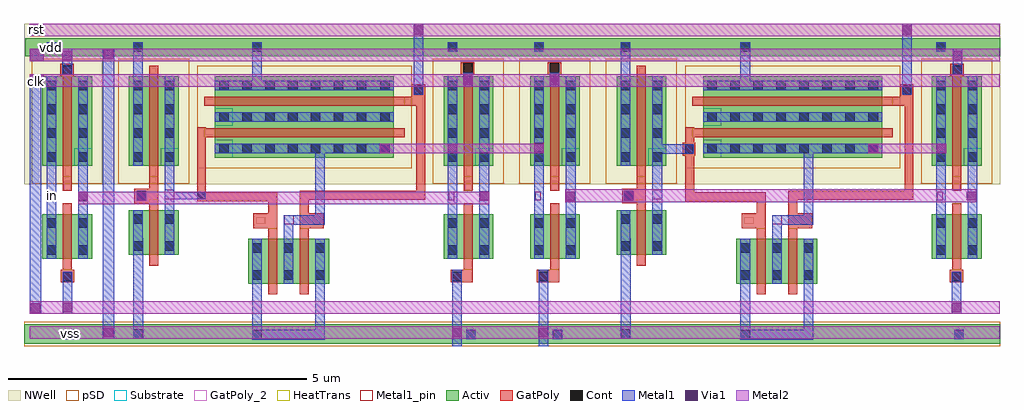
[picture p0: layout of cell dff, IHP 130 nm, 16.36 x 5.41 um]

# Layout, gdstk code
from math import pi, radians
import gdstk
lib = gdstk.Library(unit=1e-6, precision=5e-09)
def R(c, l, rs):  # rectangles x0, y0, x1, y1
    for r in rs: c.add(gdstk.rectangle(r[:2], r[2:], *l))
def A(c, l, x, y, w, h, nx, ny, dx, dy):  # array of equal rectangles
    R(c, l, [(x+i*dx, y+j*dy, x+i*dx+w, y+j*dy+h) for i in range(nx) for j in range(ny)])
Activ = (1, 0)
GatPoly = (5, 0)
GatPoly_2 = (5, 2)
Cont = (6, 0)
Metal1 = (8, 0)
Metal1_pin = (8, 2)
Metal2 = (10, 0)
pSD = (14, 0)
Via1 = (19, 0)
NWell = (31, 0)
Substrate = (40, 0)
HeatTrans = (51, 0)

nmos_5_2 = lib.new_cell('nmos$5$2')
R(nmos_5_2, Activ, [(0,0,0.3,0.3), (0,0,0.83,0.75), (0.53,0,0.83,0.3)])
R(nmos_5_2, GatPoly, [(0.34,-0.18,0.49,0.93)])
R(nmos_5_2, GatPoly_2, [(0.34,-0.18,0.49,0.93)])
R(nmos_5_2, Cont, [(0.07,0.07,0.23,0.23), (0.6,0.07,0.76,0.23), (0.07,0.52,0.23,0.68), (0.6,0.52,0.76,0.68)])
R(nmos_5_2, Metal1, [(0.07,0,0.23,0.75), (0.6,0,0.76,0.75)])
R(nmos_5_2, Metal1_pin, [(0.07,0,0.23,0.75), (0.6,0,0.76,0.75)])
R(nmos_5_2, HeatTrans, [(0.34,-0.18,0.49,0.93)])
nmos_5_2.add(gdstk.Label('nmos', (0.415,0.375), layer=63, texttype=0))
nmos_5_2.add(gdstk.Label('nmos', (0.415,0.375), layer=51, texttype=0))

pmos_5_1 = lib.new_cell('pmos$5$1')
R(pmos_5_1, Activ, [(0,0,0.3,0.3), (0,0,0.83,3), (0.53,0,0.83,0.3)])
R(pmos_5_1, GatPoly, [(0.34,-0.18,0.49,3.18), (0.34,-0.18,0.49,3.18)])
A(pmos_5_1, Cont, 0.07, 0.07, 0.16, 0.16, 1, 7, 0, 0.385)
A(pmos_5_1, Cont, 0.6, 0.07, 0.16, 0.16, 1, 7, 0, 0.385)
R(pmos_5_1, Cont, [(0.07,2.77,0.23,2.93), (0.6,2.77,0.76,2.93)])
R(pmos_5_1, Metal1, [(0.07,0,0.23,3), (0.07,0,0.23,3), (0.6,0,0.76,3), (0.6,0,0.76,3)])
R(pmos_5_1, pSD, [(-0.18,-0.3,1.01,3.3)])
R(pmos_5_1, NWell, [(-0.31,-0.31,1.14,3.31)])
R(pmos_5_1, Substrate, [(0.53,0,0.83,0.3)])
R(pmos_5_1, HeatTrans, [(0.34,-0.18,0.49,3.18)])
pmos_5_1.add(gdstk.Label('pmos', (0.415,1.5), layer=63, texttype=0))
pmos_5_1.add(gdstk.Label('pmos', (0.415,1.5), layer=51, texttype=0))

norgate_1 = lib.new_cell('norgate$1')
R(norgate_1, Activ, [(-1.47,-2.5,1.81,-2.17), (-1.35,2.325,1.935,2.625)])
R(norgate_1, GatPoly, [(-0.525,-0.56,-0.125,-0.31), (-0.275,-0.56,-0.125,-0.11), (0.255,-0.56,0.405,0.065), (0.255,-0.56,0.655,-0.31), (-1.47,-0.11,-0.125,0.04), (0.255,-0.085,2.355,0.065), (2.205,-0.085,2.355,1.645), (-1.47,0.04,-1.32,1.135), (-1.47,0.965,-1.35,1.135), (2.01,1.495,2.355,1.645)])
R(norgate_1, GatPoly_2, [(0.47,-0.49,0.6,-0.37), (-0.48,-0.485,-0.325,-0.375)])
R(norgate_1, Cont, [(-0.545,-2.43,-0.385,-2.27), (-0.545,2.395,-0.385,2.555)])
R(norgate_1, Metal1, [(-0.545,-2.43,-0.385,-0.74), (-0.545,-2.43,0.675,-2.265), (0.515,-2.43,0.675,-0.74), (-0.015,-0.74,0.145,-0.36), (-0.015,-0.505,0.675,-0.345), (0.515,-0.49,0.675,0.695), (-0.545,1.755,-0.385,2.555)])
R(norgate_1, Metal1_pin, [(-0.545,-2.43,-0.385,-2.265), (-0.01,-0.49,0.15,-0.345), (-0.545,2.395,-0.385,2.555)])
R(norgate_1, pSD, [(-1.47,-2.54,1.81,-2.125)])
R(norgate_1, NWell, [(-1.47,2.295,2.13,2.865)])
norgate_1.add(gdstk.Reference(nmos_5_2, (0.745,-0.74), rotation=pi))
norgate_1.add(gdstk.Reference(nmos_5_2, (-0.615,-1.49)))
norgate_1.add(gdstk.Reference(pmos_5_1, (-1.17,1.985), rotation=3*pi/2))
norgate_1.add(gdstk.Reference(pmos_5_1, (-1.17,1.455), rotation=3*pi/2))
norgate_1.add(gdstk.Label('vss', (-0.485,-2.335), layer=8, texttype=2))
norgate_1.add(gdstk.Label('vdd', (-0.475,2.5), layer=8, texttype=2))
norgate_1.add(gdstk.Label('out', (0.07,-0.41), layer=8, texttype=2))
norgate_1.add(gdstk.Label('b', (-0.42,-0.435), layer=5, texttype=2))
norgate_1.add(gdstk.Label('a', (0.52,-0.44), layer=5, texttype=2))

nmos_5_1 = lib.new_cell('nmos$5$1')
R(nmos_5_1, Activ, [(0,0,0.3,0.3), (0,0,0.83,0.75), (0.53,0,0.83,0.3)])
R(nmos_5_1, GatPoly, [(0.34,-0.18,0.49,0.93)])
R(nmos_5_1, GatPoly_2, [(0.34,-0.18,0.49,0.93)])
R(nmos_5_1, Cont, [(0.07,0.07,0.23,0.23), (0.6,0.07,0.76,0.23), (0.07,0.52,0.23,0.68), (0.6,0.52,0.76,0.68)])
R(nmos_5_1, Metal1, [(0.07,0,0.23,0.75), (0.6,0,0.76,0.75)])
R(nmos_5_1, Metal1_pin, [(0.07,0,0.23,0.75), (0.6,0,0.76,0.75)])
R(nmos_5_1, HeatTrans, [(0.34,-0.18,0.49,0.93)])
nmos_5_1.add(gdstk.Label('nmos', (0.415,0.375), layer=63, texttype=0))
nmos_5_1.add(gdstk.Label('nmos', (0.415,0.375), layer=51, texttype=0))

pmos = lib.new_cell('pmos')
R(pmos, Activ, [(0,0,0.3,0.3), (0,0,0.83,1.5), (0.53,0,0.83,0.3)])
R(pmos, GatPoly, [(0.34,-0.18,0.49,1.68), (0.34,-0.18,0.49,1.68)])
A(pmos, Cont, 0.07, 0.07, 0.16, 0.16, 1, 4, 0, 0.4)
A(pmos, Cont, 0.6, 0.07, 0.16, 0.16, 1, 4, 0, 0.4)
R(pmos, Metal1, [(0.07,0,0.23,1.5), (0.07,0,0.23,1.5), (0.6,0,0.76,1.5), (0.6,0,0.76,1.5)])
R(pmos, pSD, [(-0.18,-0.3,1.01,1.8)])
R(pmos, NWell, [(-0.31,-0.31,1.14,1.81)])
R(pmos, Substrate, [(0.53,0,0.83,0.3)])
R(pmos, HeatTrans, [(0.34,-0.18,0.49,1.68)])
pmos.add(gdstk.Label('pmos', (0.415,0.75), layer=63, texttype=0))
pmos.add(gdstk.Label('pmos', (0.415,0.75), layer=51, texttype=0))

transmissiongate = lib.new_cell('transmissiongate')
R(transmissiongate, Activ, [(2.295,-2.62,3.745,-2.29), (2.315,2.205,3.745,2.505)])
R(transmissiongate, GatPoly, [(2.945,-0.055,3.095,0.185)])
R(transmissiongate, GatPoly_2, [(2.98,-0.43,3.09,-0.27), (2.96,-0.055,3.08,0.105)])
R(transmissiongate, Cont, [(2.98,-2.54,3.14,-2.38), (2.675,2.275,2.835,2.435)])
R(transmissiongate, Metal1, [(2.98,-2.54,3.14,-2.38), (2.98,-2.54,3.14,-2.38), (2.675,-0.445,2.835,-0.21), (3.205,-0.445,3.365,-0.21), (2.675,-0.21,2.835,0.365), (3.205,-0.21,3.365,0.365), (2.675,2.275,2.835,2.435)])
R(transmissiongate, Metal1_pin, [(2.98,-2.54,3.14,-2.38), (2.69,-0.21,2.785,-0.07), (3.205,-0.21,3.365,-0.07), (2.675,2.275,2.835,2.435)])
R(transmissiongate, pSD, [(2.295,-2.66,3.745,-2.245)])
R(transmissiongate, NWell, [(2.295,2.175,3.745,2.745)])
transmissiongate.add(gdstk.Reference(nmos_5_1, (2.605,-1.195)))
transmissiongate.add(gdstk.Reference(pmos, (2.605,0.365)))
transmissiongate.add(gdstk.Label('vdd', (2.745,2.38), layer=8, texttype=2))
transmissiongate.add(gdstk.Label('vss', (3.055,-2.46), layer=8, texttype=2))
transmissiongate.add(gdstk.Label('out', (3.285,-0.14), layer=8, texttype=2))
transmissiongate.add(gdstk.Label('in', (2.73,-0.14), layer=8, texttype=2))
transmissiongate.add(gdstk.Label('en', (3.015,-0.355), layer=5, texttype=2))
transmissiongate.add(gdstk.Label('noten', (3.025,0.02), layer=5, texttype=2))

nmos = lib.new_cell('nmos')
R(nmos, Activ, [(0,0,0.3,0.3), (0,0,0.83,0.75), (0.53,0,0.83,0.3)])
R(nmos, GatPoly, [(0.34,-0.18,0.49,0.93)])
R(nmos, GatPoly_2, [(0.34,-0.18,0.49,0.93)])
R(nmos, Cont, [(0.07,0.07,0.23,0.23), (0.6,0.07,0.76,0.23), (0.07,0.52,0.23,0.68), (0.6,0.52,0.76,0.68)])
R(nmos, Metal1, [(0.07,0,0.23,0.75), (0.6,0,0.76,0.75)])
R(nmos, Metal1_pin, [(0.07,0,0.23,0.75), (0.6,0,0.76,0.75)])
R(nmos, HeatTrans, [(0.34,-0.18,0.49,0.93)])
nmos.add(gdstk.Label('nmos', (0.415,0.375), layer=63, texttype=0))
nmos.add(gdstk.Label('nmos', (0.415,0.375), layer=51, texttype=0))

pmos_1 = lib.new_cell('pmos$1')
R(pmos_1, Activ, [(0,0,0.3,0.3), (0,0,0.83,1.5), (0.53,0,0.83,0.3)])
R(pmos_1, GatPoly, [(0.34,-0.18,0.49,1.68), (0.34,-0.18,0.49,1.68)])
A(pmos_1, Cont, 0.07, 0.07, 0.16, 0.16, 1, 4, 0, 0.4)
A(pmos_1, Cont, 0.6, 0.07, 0.16, 0.16, 1, 4, 0, 0.4)
R(pmos_1, Metal1, [(0.07,0,0.23,1.5), (0.07,0,0.23,1.5), (0.6,0,0.76,1.5), (0.6,0,0.76,1.5)])
R(pmos_1, pSD, [(-0.18,-0.3,1.01,1.8)])
R(pmos_1, NWell, [(-0.31,-0.31,1.14,1.81)])
R(pmos_1, Substrate, [(0.53,0,0.83,0.3)])
R(pmos_1, HeatTrans, [(0.34,-0.18,0.49,1.68)])
pmos_1.add(gdstk.Label('pmos', (0.415,0.75), layer=63, texttype=0))
pmos_1.add(gdstk.Label('pmos', (0.415,0.75), layer=51, texttype=0))

inverter = lib.new_cell('inverter')
R(inverter, Activ, [(-0.845,-2.62,0.395,-2.29), (-0.795,2.205,0.285,2.505)])
R(inverter, GatPoly, [(-0.525,-0.265,-0.275,-0.015), (-0.275,-0.195,-0.125,0.185)])
R(inverter, GatPoly_2, [(-0.485,-0.215,-0.325,-0.055)])
R(inverter, Cont, [(-0.545,-2.535,-0.385,-2.375), (-0.545,-2.535,-0.385,-2.375), (-0.545,2.275,-0.385,2.435)])
R(inverter, Metal1, [(-0.545,-2.535,-0.38,-0.845), (-0.015,-0.375,0.145,0.365), (-0.545,1.865,-0.385,2.435)])
R(inverter, Metal1_pin, [(-0.015,-0.195,0.145,-0.035)])
R(inverter, pSD, [(-0.925,-2.66,0.525,-2.245)])
R(inverter, NWell, [(-0.925,2.175,0.525,2.745)])
inverter.add(gdstk.Reference(nmos, (-0.615,-1.125)))
inverter.add(gdstk.Reference(pmos_1, (-0.615,0.365)))
inverter.add(gdstk.Label('vss', (-0.475,-2.43), layer=8, texttype=2))
inverter.add(gdstk.Label('vdd', (-0.465,2.355), layer=8, texttype=2))
inverter.add(gdstk.Label('out', (0.06,-0.09), layer=8, texttype=2))
inverter.add(gdstk.Label('in', (-0.45,-0.11), layer=5, texttype=2))

dff = lib.new_cell('dff')
R(dff, Activ, [(-1.81,-2.62,14.55,-2.29), (-1.79,2.205,14.55,2.505)])
R(dff, GatPoly, [(-1.19,-1.585,-0.965,-1.375), (5.34,-1.585,5.565,-1.375), (5.565,-1.585,5.715,-1.375), (6.785,-1.585,7.01,-1.375), (7.01,-1.585,7.16,-1.375), (13.71,-1.585,13.935,-1.375), (9.235,0.535,9.44,0.75), (4.69,1.525,4.915,1.735), (12.875,1.525,13.1,1.735), (-1.2,1.865,-0.975,2.075), (13.72,1.865,13.945,2.075), (5.515,1.895,5.74,2.105), (6.97,1.895,7.195,2.105)])
R(dff, Cont, [(-1.16,-1.565,-1,-1.405), (5.37,-1.565,5.53,-1.405), (6.815,-1.565,6.975,-1.405), (13.74,-1.565,13.9,-1.405), (0.08,-0.215,0.24,-0.055), (8.245,-0.215,8.405,-0.055), (1.09,-0.195,1.24,-0.08), (9.27,0.565,9.415,0.725), (4.725,1.555,4.885,1.715), (12.91,1.555,13.07,1.715), (-1.165,1.895,-1.005,2.055), (13.755,1.895,13.915,2.055), (5.55,1.925,5.71,2.085), (7.005,1.925,7.165,2.085)])
R(dff, Metal1, [(5.37,-2.66,5.53,-1.375), (6.815,-2.66,6.975,-1.375), (-0.49,-2.535,-0.3,2.33), (-1.71,-2.115,-1.52,1.905), (-1.16,-2.115,-1,-1.405), (13.74,-2.115,13.9,-1.405), (0.08,-0.215,0.24,-0.055), (8.245,-0.215,8.405,-0.055), (0.55,-0.195,1.24,-0.08), (8.725,0.565,9.415,0.725), (4.725,1.555,4.885,2.75), (12.91,1.555,13.07,2.75), (5.55,1.695,5.71,1.925), (7.005,1.695,7.165,1.925), (-1.165,1.895,-1.005,2.33), (13.755,1.895,13.915,2.33), (-1.71,2.54,-1.48,2.75), (-1.71,2.54,-1.475,2.75)])
R(dff, Metal1_pin, [(-1.13,-2.515,-0.97,-2.37), (-1.43,-0.21,-1.27,-0.065), (-1.71,1.695,-1.48,1.905), (-1.71,2.12,-1.48,2.33), (-1.43,2.275,-1.27,2.435), (-1.71,2.54,-1.48,2.75)])
R(dff, Metal2, [(-1.71,-2.535,14.545,-2.325), (-1.71,-2.115,14.545,-1.905), (-0.9,-0.28,5.99,-0.07), (7.265,-0.24,14.15,-0.03), (4.15,0.575,5.455,0.74), (5.455,0.575,6.905,0.74), (12.345,0.575,13.65,0.74), (-1.71,1.695,14.545,1.905), (-1.71,2.12,14.545,2.33), (-1.71,2.54,14.545,2.75)])
R(dff, pSD, [(-1.81,-2.66,14.55,-2.245)])
R(dff, Via1, [(-0.475,-2.51,-0.315,-2.35), (5.365,-2.505,5.525,-2.345), (6.81,-2.505,6.97,-2.345), (-1.695,-2.095,-1.535,-1.935), (-1.16,-2.09,-1,-1.93), (13.74,-2.09,13.9,-1.93), (-0.9,-0.23,-0.74,-0.07), (7.265,-0.23,7.425,-0.07), (5.83,-0.22,5.99,-0.06), (0.08,-0.215,0.24,-0.055), (8.245,-0.215,8.405,-0.055), (13.99,-0.21,14.15,-0.07), (4.155,0.575,4.315,0.735), (5.295,0.575,5.455,0.735), (5.295,0.575,5.455,0.735), (12.35,0.575,12.51,0.735), (13.49,0.575,13.65,0.735), (6.74,0.595,6.9,0.755), (-1.71,1.695,-1.475,1.905), (5.55,1.72,5.71,1.88), (7.005,1.72,7.165,1.88), (-1.71,2.12,-1.475,2.33), (-1.165,2.135,-1.005,2.295), (13.755,2.135,13.915,2.295), (-0.475,2.15,-0.315,2.31), (-1.71,2.54,-1.475,2.75), (4.725,2.56,4.885,2.72), (12.91,2.56,13.07,2.72)])
R(dff, NWell, [(-1.81,0.055,14.545,2.75), (-1.81,2.205,14.55,2.745)])
dff.add(gdstk.Reference(norgate_1, (2.56,-0.12)))
dff.add(gdstk.Reference(transmissiongate, (10.805,0)))
dff.add(gdstk.Reference(inverter, (0.565,0)))
dff.add(gdstk.Reference(transmissiongate, (2.62,0)))
dff.add(gdstk.Reference(transmissiongate, (4.07,0)))
dff.add(gdstk.Reference(inverter, (8.74,0)))
dff.add(gdstk.Reference(norgate_1, (10.745,-0.12)))
dff.add(gdstk.Reference(transmissiongate, (-4.105,0)))
dff.add(gdstk.Label('vdd', (-1.35,2.355), layer=8, texttype=2))
dff.add(gdstk.Label('vss', (-1.035,-2.44), layer=8, texttype=2))
dff.add(gdstk.Label('rst', (-1.595,2.645), layer=8, texttype=2))
dff.add(gdstk.Label('clk', (-1.595,1.78), layer=8, texttype=2))
dff.add(gdstk.Label('in', (-1.335,-0.135), layer=8, texttype=2))
dff.add(gdstk.Label('nclk', (-1.595,2.21), layer=8, texttype=2))

lib.write_gds('dff.gds')
